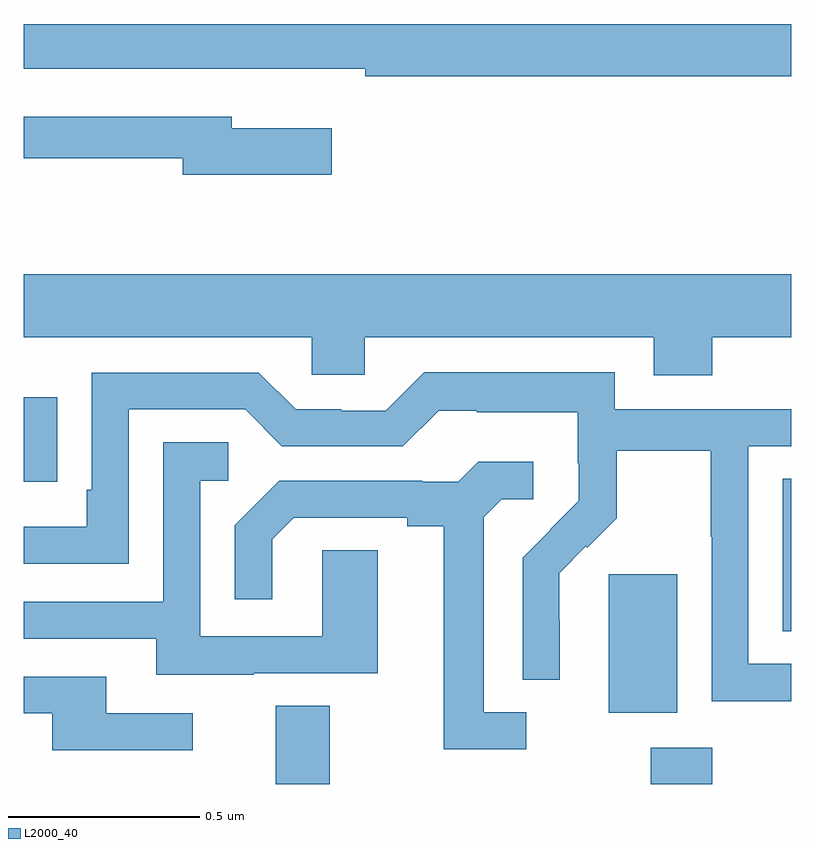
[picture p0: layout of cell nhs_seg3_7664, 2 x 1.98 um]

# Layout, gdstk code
import gdstk
lib = gdstk.Library(unit=1e-6, precision=1e-09)
def R(c, l, rs):  # rectangles x0, y0, x1, y1
    for r in rs: c.add(gdstk.rectangle(r[:2], r[2:], *l))
def P(c, l, *ps):  # polygons
    for p in ps: c.add(gdstk.Polygon(p, *l))
L2000_40 = (2000, 40)

nhs_seg3_7664 = lib.new_cell('nhs_seg3_7664')
R(nhs_seg3_7664, L2000_40, [(206.657,718.4,206.797,718.604), (207.634,718.4,207.794,718.495), (207.524,718.586,207.703,718.947), (207.977,718.798,208,719.195), (206,719.188,206.087,719.407)])
P(nhs_seg3_7664, L2000_40, [(208,720.38),(206,720.38),(206,720.264),(206.638,720.264),(206.638,720.263),(206.89,720.263),(206.89,720.244),(208,720.244)],
  [(206.803,720.109),(206.542,720.109),(206.542,720.138),(206,720.138),(206,720.03),(206.414,720.03),(206.414,719.987),(206.803,719.987)],
  [(207.794,719.564),(208,719.564),(208,719.728),(206,719.728),(206,719.564),(206.751,719.564),(206.751,719.466),(206.889,719.466),(206.889,719.564),(207.641,719.564),(207.641,719.465),(207.794,719.465)],
  [(208,718.713),(207.888,718.713),(207.888,719.28),(208,719.28),(208,719.376),(207.54,719.376),(207.54,719.473),(207.043,719.473),(206.943,719.373),(206.828,719.373),(206.828,719.376),(206.709,719.376),(206.613,719.472),(206.178,719.472),(206.178,719.167),(206.165,719.167),(206.165,719.07),(206,719.07),(206,718.974),(206.274,718.974),(206.274,719.376),(206.577,719.376),(206.673,719.28),(206.988,719.28),(207.081,719.373),(207.181,719.373),(207.181,719.369),(207.444,719.369),(207.444,719.235),(207.446,719.235),(207.446,719.138),(207.372,719.064),(207.373,719.063),(207.3,718.99),(207.3,718.672),(207.396,718.672),(207.396,718.826),(207.395,718.826),(207.395,718.949),(207.465,719.019),(207.468,719.016),(207.545,719.093),(207.545,719.268),(207.79,719.268),(207.79,719.044),(207.792,719.044),(207.792,718.615),(208,718.615)],
  [(206.599,718.689),(206.923,718.689),(206.923,719.009),(206.778,719.009),(206.778,718.785),(206.46,718.785),(206.46,719.19),(206.533,719.19),(206.533,719.291),(206.364,719.291),(206.364,718.875),(206,718.875),(206,718.779),(206.345,718.779),(206.345,718.685),(206.599,718.685)],
  [(207.31,718.587),(207.199,718.587),(207.199,719.095),(207.246,719.142),(207.328,719.142),(207.328,719.239),(207.184,719.239),(207.132,719.187),(207.038,719.187),(207.038,719.19),(206.666,719.19),(206.55,719.074),(206.55,718.881),(206.647,718.881),(206.647,719.037),(206.704,719.094),(206.999,719.094),(206.999,719.072),(207.095,719.072),(207.095,718.491),(207.31,718.491)],
  [(206.44,718.584),(206.215,718.584),(206.215,718.68),(206,718.68),(206,718.584),(206.075,718.584),(206.075,718.488),(206.44,718.488)])

lib.write_gds('nhs_seg3_7664.gds')
